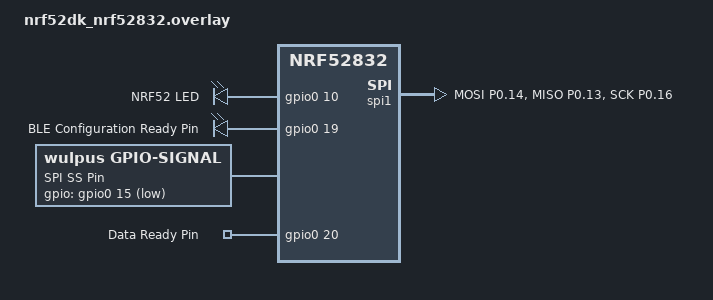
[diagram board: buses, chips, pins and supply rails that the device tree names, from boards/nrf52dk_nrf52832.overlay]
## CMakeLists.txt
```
#
# Copyright (c) 2018 Nordic Semiconductor
#
# SPDX-License-Identifier: LicenseRef-Nordic-5-Clause
#
cmake_minimum_required(VERSION 3.20.0)

find_package(Zephyr REQUIRED HINTS $ENV{ZEPHYR_BASE})
project(us_probe)

# NORDIC SDK APP START
target_sources(app PRIVATE
    src/main.c
    src/ble.c
    src/spi.c
    src/helper.c
    src/testfunctions.c
    src/uplink.c
    src/wulpus_node.c
    src/tx_stats.c
    src/i2c.c
)

if(CONFIG_BT_MESH)
    target_sources(app PRIVATE
        src/mesh.c
        src/timehelper.c
    )
endif()
target_include_directories(app PRIVATE include)
# NORDIC SDK APP END
```

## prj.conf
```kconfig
# Debugging
# CONFIG_DEBUG=y
# CONFIG_DEBUG_THREAD_INFO=y
# CONFIG_CORTEX_M_DEBUG_MONITOR_HOOK=y
# CONFIG_SEGGER_DEBUGMON=y
# DEBUG_COREDUMP=y
# DEBUG_COREDUMP_BACKEND_LOGGING=y

# Show Utilization
# CONFIG_THREAD_ANALYZER=y
# CONFIG_THREAD_ANALYZER_USE_PRINTK=y
# CONFIG_THREAD_ANALYZER_AUTO=y
# CONFIG_THREAD_ANALYZER_AUTO_INTERVAL=5

# Enable BT Mesh
CONFIG_BT_MESH=y
# Enable BT
CONFIG_BT=y

# BT details
CONFIG_BT_DEVICE_NAME_DYNAMIC=y
CONFIG_BT_DEVICE_NAME_MAX=32
CONFIG_BT_NUS=y
CONFIG_BT_PERIPHERAL=y
CONFIG_BT_OBSERVER=y
CONFIG_BT_BROADCASTER=y
CONFIG_BT_GAP_AUTO_UPDATE_CONN_PARAMS=y
CONFIG_BT_CTLR_PRIVACY=n
# Enable storing settings in flash
CONFIG_BT_SETTINGS=y
CONFIG_FLASH=y
CONFIG_FLASH_PAGE_LAYOUT=y
CONFIG_FLASH_MAP=y
CONFIG_NVS=y
CONFIG_SETTINGS=y
CONFIG_SETTINGS_NVS=y
CONFIG_MPU_ALLOW_FLASH_WRITE=y
# Use NVS backend for settings, not PSA storage
CONFIG_MBEDTLS_PSA_CRYPTO_STORAGE_C=n
# Optimizing for high throughput
CONFIG_BT_USER_PHY_UPDATE=y
CONFIG_BT_PERIPHERAL_PREF_MIN_INT=6
CONFIG_BT_PERIPHERAL_PREF_MAX_INT=10
CONFIG_BT_PERIPHERAL_PREF_LATENCY=0
CONFIG_BT_PERIPHERAL_PREF_TIMEOUT=400
CONFIG_BT_ATT_PREPARE_COUNT=5
CONFIG_BT_CTLR_PHY_2M=y
# Enable longer BT messages
CONFIG_BT_L2CAP_TX_MTU=220
CONFIG_BT_BUF_ACL_TX_SIZE=224
CONFIG_BT_BUF_ACL_RX_SIZE=230
CONFIG_BT_CTLR_DATA_LENGTH_MAX=211
# (Enable Hardware Info for Bluetooth ID)
CONFIG_HWINFO=y
CONFIG_BT_PRIVACY=n
# Enable GPIO
CONFIG_GPIO=y

# Log to RTT
CONFIG_LOG=y
CONFIG_LOG_DEFAULT_LEVEL=2
CONFIG_USE_SEGGER_RTT=y
CONFIG_LOG_BACKEND_RTT=y
CONFIG_LOG_PRINTK=y
CONFIG_RTT_CONSOLE=y

CONFIG_MAIN_STACK_SIZE=4096
CONFIG_SEGGER_RTT_BUFFER_SIZE_UP=4096

# Enable Asserts
CONFIG_ASSERT=y

# BT Mesh details
CONFIG_BT_MESH_MODEL_EXTENSIONS=y
CONFIG_BT_MESH_RELAY=y
CONFIG_BT_MESH_FRIEND=y
CONFIG_BT_MESH_PB_GATT=y
CONFIG_BT_MESH_PB_ADV=y
CONFIG_BT_MESH_GATT_PROXY=y
CONFIG_BT_MESH_PROXY_USE_DEVICE_NAME=n
CONFIG_BT_MESH_TIME_SRV=y
CONFIG_BT_MESH_TIME_SRV_PERSISTENT=y
CONFIG_BT_MESH_TIME_CLI=y
CONFIG_BT_MESH_DEFAULT_TTL=7
CONFIG_BT_MESH_DK_PROV=y
# Allow self-provisioning
CONFIG_BT_MESH_CFG_CLI=y
CONFIG_BT_MESH_TX_SEG_MAX=32
CONFIG_BT_MESH_TX_SEG_MSG_COUNT=100
CONFIG_BT_MESH_RX_SEG_MAX=32
CONFIG_BT_MESH_RX_SEG_MSG_COUNT=100
CONFIG_BT_MESH_ADV_BUF_COUNT=256
CONFIG_BT_MESH_SEQ_STORE_RATE=5
# Decrese rettrasnmit attempts to reduce congestion
CONFIG_BT_MESH_NETWORK_TRANSMIT_COUNT=1
# Increase (system workqueue) stack for BLE Mesh
CONFIG_SYSTEM_WORKQUEUE_STACK_SIZE=4096
CONFIG_BT_MESH_ADV_STACK_SIZE=4096
CONFIG_BT_RX_STACK_SIZE=4096
# Allow parallel GATT and Mesh
CONFIG_BT_EXT_ADV=y
CONFIG_BT_MAX_CONN=3
CONFIG_BT_ID_MAX=2
# (5 sets are used by Bluetooth Mesh, 1 is needed for the GATT advertisement)
CONFIG_BT_EXT_ADV_MAX_ADV_SET=6

CONFIG_CONSOLE=y
CONFIG_UART_CONSOLE=n
CONFIG_SERIAL=n
CONFIG_UART_NRFX=n
```

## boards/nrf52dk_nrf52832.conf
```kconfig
# Board-specific configuration
# Enable the nrfx SPIM driver. Instances are selected from devicetree.
CONFIG_NRFX_SPIM=y

# Enable PPI (Programmable Peripheral Interconnect)
CONFIG_NRFX_PPI=y

CONFIG_BT_MESH=n
CONFIG_BT_EXT_ADV=n
CONFIG_BT_MAX_CONN=1
CONFIG_BT_ID_MAX=2
CONFIG_BT_EXT_ADV_MAX_ADV_SET=1
```

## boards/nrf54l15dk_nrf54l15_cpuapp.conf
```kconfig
# Board-specific configuration for nRF54L15
# Enable the nrfx SPIM driver. Instances are selected from devicetree.
CONFIG_NRFX_SPIM=y
```

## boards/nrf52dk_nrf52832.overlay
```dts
/ {
    aliases {
        led0 = &led_nrf52;
        data-ready = &data_ready_pin;
        ble-cnfg-ready = &ble_cnfg_ready_pin;
        spi-conn = &spi1;
        spi-ss = &spi_ss_pin;
    };

    chosen {
        nordic,nus-uart = &uart0;
    };

    leds {
        compatible = "gpio-leds";
        led_nrf52: led_nrf52 {
            gpios = <&gpio0 10 GPIO_ACTIVE_HIGH>;
            label = "NRF52 LED";
        };

        ble_cnfg_ready_pin: ble_cnfg_ready_pin {
            gpios = <&gpio0 19 GPIO_ACTIVE_HIGH>;
            label = "BLE Configuration Ready Pin";
        };
    };

    spi_ss_pin: spi_ss_pin {
        compatible = "wulpus,gpio-signal";
        gpios = <&gpio0 15 GPIO_ACTIVE_LOW>;
        label = "SPI SS Pin";
    };

    buttons {
        compatible = "gpio-keys";
        data_ready_pin: data_ready_pin {
            gpios = <&gpio0 20 (GPIO_ACTIVE_HIGH | GPIO_PULL_DOWN)>;
            label = "Data Ready Pin";
        };
    };
};

&pinctrl {
    spi_master_default: spi_master_default {
        group1 {
            psels = <NRF_PSEL(SPIM_MOSI, 0, 14)>,
                    <NRF_PSEL(SPIM_MISO, 0, 13)>,
                    <NRF_PSEL(SPIM_SCK, 0, 16)>;
        };
    };

    spi_master_sleep: spi_master_sleep {
        group1 {
            psels = <NRF_PSEL(SPIM_MOSI, 0, 14)>,
                    <NRF_PSEL(SPIM_MISO, 0, 13)>,
                    <NRF_PSEL(SPIM_SCK, 0, 16)>;
            low-power-enable;
        };
    };
};

&spi1 {
    status = "okay";
    compatible = "nordic,nrf-spim";
    pinctrl-0 = <&spi_master_default>;
    pinctrl-1 = <&spi_master_sleep>;
    pinctrl-names = "default", "sleep";
};
```

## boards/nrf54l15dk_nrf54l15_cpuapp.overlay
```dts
/ {
    aliases {
        data-ready = &data_ready_pin;
        ble-cnfg-ready = &ble_cnfg_ready_pin;
        spi-conn = &spi20;
        spi-ss = &spi_ss_pin;
        i2c = &npm2100;
        pmic = &npm2100;
    };

    /*chosen {
        // Override default console/shell to use UART30 instead of UART20
        // This allows SPI20 to be used without conflict
        zephyr,console = &uart30;
        zephyr,shell-uart = &uart30;
        zephyr,uart-mcumgr = &uart30;
        zephyr,bt-mon-uart = &uart30;
        zephyr,bt-c2h-uart = &uart30;
        nordic,nus-uart = &uart30;
    };*/

    ble_cnfg_ready_pin: ble_cnfg_ready_pin {
        compatible = "wulpus,gpio-signal";
        gpios = <&gpio0 1 GPIO_ACTIVE_HIGH>;
        label = "BLE Configuration Ready Pin";
    };

    buttons {
        compatible = "gpio-keys";
        data_ready_pin: data_ready_pin {
            gpios = <&gpio0 0 (GPIO_ACTIVE_HIGH | GPIO_PULL_DOWN)>;
            label = "Data Ready Pin";
        };
    };

    spi_ss_pin: spi_ss_pin {
        compatible = "wulpus,gpio-signal";
        gpios = <&gpio1 5 GPIO_ACTIVE_LOW>;
        label = "SPI SS Pin";
    };
};

&pinctrl {
    spi_master_default: spi_master_default {
        group1 {
            psels = <NRF_PSEL(SPIM_MOSI, 1, 6)>,
                    <NRF_PSEL(SPIM_MISO, 1, 7)>,
                    <NRF_PSEL(SPIM_SCK, 1, 8)>;
        };
    };

    spi_master_sleep: spi_master_sleep {
        group1 {
            psels = <NRF_PSEL(SPIM_MOSI, 1, 6)>,
                    <NRF_PSEL(SPIM_MISO, 1, 7)>,
                    <NRF_PSEL(SPIM_SCK, 1, 8)>;
            low-power-enable;
        };
    };
};

&uart20 {
    status = "disabled";
};

&spi20 {
    // The app drives SPIM20 directly with nrfx; keep Zephyr's SPI driver off
    // this node so it does not register the same interrupt.
    status = "disabled";
    compatible = "nordic,nrf-spim";
    pinctrl-0 = <&spi_master_default>;
    pinctrl-1 = <&spi_master_sleep>;
    pinctrl-names = "default", "sleep";
};

// UART30 for console/shell/RTT (has default pinctrl)
&uart30 {
    status = "disabled";
    current-speed = <115200>;
};
```

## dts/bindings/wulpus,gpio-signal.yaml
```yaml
# Devicetree binding for simple GPIO signals used by the Wulpus probe firmware

compatible: "wulpus,gpio-signal"

description: |
  Helper node used by the Wulpus probe firmware to locate a GPIO signal via
  devicetree aliases.

properties:
  gpios:
    type: phandle-array
    required: true
    description: GPIO specifier for the signal.

  label:
    type: string
    required: false
```

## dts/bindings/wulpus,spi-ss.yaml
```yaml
# Devicetree binding for selecting the SPI slave-select GPIO for the Wulpus probe

compatible: "wulpus,spi-ss"

description: |
  Helper node used by the Wulpus probe firmware to locate the SPI slave-select
  (chip select) GPIO via a devicetree alias (spi-ss).

properties:
  gpios:
    type: phandle-array
    required: true
    description: |
      GPIO specifier for the SPI slave-select pin.

  label:
    type: string
    required: false
```

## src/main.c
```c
#include <bluetooth/services/nus.h>
#include <errno.h>
#include <stdio.h>
#include <stdlib.h>
#include <zephyr/bluetooth/bluetooth.h>
#include <zephyr/drivers/gpio.h>
#include <zephyr/drivers/hwinfo.h>
#include <zephyr/kernel.h>
#include <zephyr/logging/log.h>
#include <zephyr/settings/settings.h>
#include <zephyr/sys/util.h>

#include <zephyr/drivers/i2c.h>

#include "ble.h"
#include "helper.h"
#include "main.h"
#include "spi.h"
#include "tx_stats.h"
#include "testfunctions.h"
#include "wulpus_node.h"
#include "i2c.h"

#if IS_ENABLED(CONFIG_BT_MESH)
#include "mesh.h"
#include <bluetooth/mesh/models.h>
#include <zephyr/bluetooth/mesh.h>
#endif

LOG_MODULE_REGISTER(main);

#define HAS_DBG_BUTTON_2 DT_NODE_EXISTS(DBG_BUTTON_2_NODE)
#define HAS_DBG_BUTTON_3 DT_NODE_EXISTS(DBG_BUTTON_3_NODE)

// --- GPIOs ---
const struct gpio_dt_spec ble_cnfg_ready =
    GPIO_DT_SPEC_GET(BLE_CNFG_READY_NODE, gpios);
const struct gpio_dt_spec led = GPIO_DT_SPEC_GET(LED_NODE, gpios);
const struct gpio_dt_spec data_ready = GPIO_DT_SPEC_GET(DATA_READY_NODE, gpios);
#if HAS_DBG_BUTTON_2
const struct gpio_dt_spec dbg_button_2 =
    GPIO_DT_SPEC_GET(DBG_BUTTON_2_NODE, gpios);
#endif
#if HAS_DBG_BUTTON_3
const struct gpio_dt_spec dbg_button_3 =
    GPIO_DT_SPEC_GET(DBG_BUTTON_3_NODE, gpios);
#endif

// callback for data-ready GPIO interrupt, triggering SPIM transfer
struct gpio_callback data_ready_cb;
#if HAS_DBG_BUTTON_2
struct gpio_callback dbg_button_2_cb;
#endif
#if HAS_DBG_BUTTON_3
struct gpio_callback dbg_button_3_cb;
#endif

int64_t last_gpio_interrupt_time = 0;
static void gpio_interrupt_handler(const struct device *dev,
                                   struct gpio_callback *cb, uint32_t pins)
{
    int64_t const dt_now = k_uptime_get();
    int64_t const delta = dt_now - last_gpio_interrupt_time;
    LOG_INF("GPIO interrupt - dt since last: %lldms", delta);
    LOG_DBG("GPIO interrupt data_ready: trigger SPI session thread");
    if (delta < MIN_INTERRUPT_INTERVAL_MS)
    {
        LOG_WRN("Ignoring spurious interrupt (dt=%lldms < %dms)", delta,
                MIN_INTERRUPT_INTERVAL_MS);
        return;
    }
    last_gpio_interrupt_time = dt_now;
    k_sem_give(&data_ready_trigger_sem);
}

static void button_2_work_handler(struct k_work *work)
{
    LOG_INF("Button 2 pressed");
    LOG_INF("Sending start-config");
    uint8_t mock_config[] = {
        0xFA, 0x03, 0x00, 0xFE, 0xFF, 0x10, 0x55, 0x22, // config_id: 0, tx_channels: [0], rx_channels: [1]
        0x00, 0x10, 0x55, 0x22, 0x00, 0x01, 0x00, 0x00, // num_acqs: 500, dcdc_turnon: 100, meas_period: 2000000
        0x20, 0x03, 0x1D, 0x01, 0x06, 0x00, 0x04, 0x00, // trans_freq: 2250000, pulse_freq: 2250000, ...
        0xA0, 0x0F, 0xC4, 0x09, 0x19, 0x00, 0x19, 0x00,
        0xD3, 0x09, 0xA9, 0x03, 0xA6, 0x0E, 0x00, 0x00,
        0x00, 0x00, 0x00, 0x00, 0x00, 0x00, 0x00, 0x00};

#if IS_ENABLED(CONFIG_BT_MESH)
    mesh_publish_config(mock_config, sizeof(mock_config));
#endif
    apply_config(mock_config, sizeof(mock_config));
}

K_WORK_DEFINE(button_2_work, button_2_work_handler);

static void button_3_work_handler(struct k_work *work)
{
    LOG_INF("Button 3 pressed");
    LOG_INF("Sending stop-config");
    uint8_t mock_config[] = {0x00, 0x00, 0x00, 0x00, 0x00, 0x00, 0x00, 0x00,
                             0x00, 0x00, 0x00, 0x00, 0x00, 0x00, 0x00, 0x00,
                             0x00, 0x00, 0x00, 0x00, 0x00, 0x00, 0x00, 0x00};

#if IS_ENABLED(CONFIG_BT_MESH)
    mesh_publish_config(mock_config, sizeof(mock_config));
#endif
    apply_config(mock_config, sizeof(mock_config));
}

K_WORK_DEFINE(button_3_work, button_3_work_handler);

static void dbg_button_2_handler(const struct device *dev,
                                 struct gpio_callback *cb, uint32_t pins)
{
    k_work_submit(&button_2_work);
}

static void dbg_button_3_handler(const struct device *dev,
                                 struct gpio_callback *cb, uint32_t pins)
{
    k_work_submit(&button_3_work);
}

// --- Mesh -------------------------------------
uint16_t addr;
uint8_t dev_uuid[16] = {0};

#if IS_ENABLED(CONFIG_BT_MESH)
static const uint16_t net_idx;
static const uint32_t iv_index;
static uint8_t flags;
#endif

// --- MAIN -------------------------------------
K_THREAD_DEFINE(ble_tx_thread_id, 2048, ble_tx_thread, NULL, NULL, NULL,
                BLE_TASK_PRIO, 0, 0);
#if IS_ENABLED(CONFIG_BT_MESH)
K_THREAD_DEFINE(mesh_tx_thread_id, 4096 * 2, mesh_tx_thread, NULL, NULL, NULL,
                MESH_TX_TASK_PRIO, 0, 0);
#endif
K_THREAD_DEFINE(spi_session_thread_id, 2048, spi_session_thread, NULL, NULL,
                NULL, SPI_TASK_PRIO, 0, 0);
// K_THREAD_DEFINE(rand_sender_thread_id, 2048, mock_sender_thread, NULL,
//                 NULL, NULL, 7, 0, 0);

int main(void)
{
    LOG_WRN("Start-delay 5s");
    k_sleep(K_MSEC(5000));

    LOG_INF("Starting WULPUS nRF Firmware (%s)", CONFIG_BOARD);
    int err;

    LOG_INF("Initializing GPIOs...");
    if (!gpio_is_ready_dt(&led) || !gpio_is_ready_dt(&data_ready) ||
        !gpio_is_ready_dt(&ble_cnfg_ready)
#if HAS_DBG_BUTTON_2
        || !gpio_is_ready_dt(&dbg_button_2)
#endif
#if HAS_DBG_BUTTON_3
        || !gpio_is_ready_dt(&dbg_button_3)
#endif
    )
    {
        LOG_ERR("GPIO devices not ready.");
        return 0;
    }
    err = gpio_pin_configure_dt(&led, GPIO_OUTPUT_LOW) |
          gpio_pin_configure_dt(&ble_cnfg_ready, GPIO_OUTPUT_LOW) |
          gpio_pin_configure_dt(&data_ready, GPIO_INPUT)
#if HAS_DBG_BUTTON_2
          | gpio_pin_configure_dt(&dbg_button_2, GPIO_INPUT)
#endif
#if HAS_DBG_BUTTON_3
          | gpio_pin_configure_dt(&dbg_button_3, GPIO_INPUT)
#endif
        ;
    if (err < 0)
    {
        LOG_ERR("Error configuring GPIO pins");
        return 0;
    }

    err = npm2100_init_sequence();
    if (err) {
        LOG_ERR("npm2100_init_sequence failed: %d", err);
    }

    // Register callback first, then enable interrupt to avoid missing edges
    // during setup
    LOG_INF("Setting up data-ready callback");
    gpio_init_callback(&data_ready_cb, gpio_interrupt_handler,
                       BIT(data_ready.pin));
    err = gpio_add_callback_dt(&data_ready, &data_ready_cb);
    if (err)
    {
        LOG_ERR("Error setting up callback: %d", err);
        return err;
    }

#if HAS_DBG_BUTTON_2
    gpio_init_callback(&dbg_button_2_cb, dbg_button_2_handler,
                       BIT(dbg_button_2.pin));
    gpio_add_callback_dt(&dbg_button_2, &dbg_button_2_cb);
    gpio_pin_interrupt_configure_dt(&dbg_button_2, GPIO_INT_EDGE_TO_ACTIVE);
#endif

#if HAS_DBG_BUTTON_3
    gpio_init_callback(&dbg_button_3_cb, dbg_button_3_handler,
                       BIT(dbg_button_3.pin));
    gpio_add_callback_dt(&dbg_button_3, &dbg_button_3_cb);
    gpio_pin_interrupt_configure_dt(&dbg_button_3, GPIO_INT_EDGE_TO_ACTIVE);
#endif

    LOG_INF("Initializing settings subsystem");
    err = settings_subsys_init();
    if (err)
    {
        LOG_ERR("Failed to initialize settings subsystem: %d\n", err);
        return err;
    }

    LOG_INF("Setting up Bluetooth LE");
    err = bt_nus_init(&nus_callbacks);
    if (err)
    {
        LOG_ERR("Failed to register Bluetooth NUS callback: %d\n", err);
        return err;
    }
    err = bt_enable(NULL);
    if (err)
    {
        LOG_ERR("Failed to enable Bluetooth: %d\n", err);
        return err;
    }

    if (IS_ENABLED(CONFIG_BT_SETTINGS))
    {
        LOG_INF("Restoring the Bluetooth state (e.g. pairing keys)");
        settings_load();
    }
    else
    {
        LOG_WRN("CONFIG_BT_SETTINGS not enabled - won't restore Bluetooth state");
    }

    LOG_INF("Reading device id to derive node id / UUID");

    if (IS_ENABLED(CONFIG_HWINFO))
    {
        size_t id_len = hwinfo_get_device_id(dev_uuid, 16);
        if (!IS_ENABLED(CONFIG_BT_MESH_DK_LEGACY_UUID_GEN))
        {
            /* If device ID is shorter than UUID size, fill rest of buffer with
             * inverted device ID.
             */
            for (size_t i = id_len; i < 16; i++)
            {
                dev_uuid[i] = dev_uuid[i % id_len] ^ 0xff;
            }
        }
        dev_uuid[6] = (dev_uuid[6] & BIT_MASK(4)) | BIT(6);
        dev_uuid[8] = (dev_uuid[8] & BIT_MASK(6)) | BIT(7);
    }
    else
    {
        LOG_ERR("HWINFO not enable - fallback to default UUID!");
        dev_uuid[0] = 0xdd;
        dev_uuid[1] = 0xdd;
    }
    LOG_INF(
        "Mesh Device UUID: "
        "%02X%02X%02X%02X-%02X%02X-%02X%02X-%02X%02X-%02X%02X%02X%02X%02X%02X",
        dev_uuid[0], dev_uuid[1], dev_uuid[2], dev_uuid[3], dev_uuid[4],
        dev_uuid[5], dev_uuid[6], dev_uuid[7], dev_uuid[8], dev_uuid[9],
        dev_uuid[10], dev_uuid[11], dev_uuid[12], dev_uuid[13], dev_uuid[14],
        dev_uuid[15]);

    char uuid_str[5] = {0};
    snprintf(uuid_str, sizeof(uuid_str), "%02X%02X", dev_uuid[14], dev_uuid[15]);
    addr = (uint16_t)strtol(uuid_str, NULL, 16) & 0x7fff;
    if (addr == 0)
    {
        addr = 1;
    }
    LOG_INF("Using address: 0x%04x (derived from bytes 14-15: %02X%02X)", addr,
            dev_uuid[14], dev_uuid[15]);

    wulpus_node_id_set_fallback(addr);

    LOG_INF("Initializing GATT device name...");
    ble_init_device_name(addr);

#if IS_ENABLED(CONFIG_BT_MESH)
    LOG_INF("Setting up BLE Mesh");
    err = bt_mesh_init(&prov, &comp);
    if (err)
    {
        LOG_ERR("Initializing mesh failed (err %d)\n", err);
        return err;
    }

    k_sleep(K_MSEC(100));
    if (!bt_mesh_is_provisioned())
    {
        LOG_INF("Mesh not provisioned yet - self-provisioning now");
        err = bt_mesh_provision(net_key, net_idx, flags, iv_index, addr, dev_key);
    }
    else
    {
        LOG_INF("Mesh already provisioned, using stored settings");
    }
    if (err == -EALREADY)
    {
        LOG_WRN("Using stored settings - configuration already exists");
        // Request gateway address since prov_complete won't be called
        mesh_request_gateway_addr();
    }
    else if (err)
    {
        LOG_ERR("Provisioning failed (err %d)", err);
        return err;
    }
    else
    {
        LOG_INF("Provisioning completed - configuration will be done in prov_complete callback");
    }

    /* This will be a no-op if settings_load() loaded provisioning info */
    bt_mesh_prov_enable(
        (bt_mesh_prov_bearer_t)(BT_MESH_PROV_ADV | BT_MESH_PROV_GATT));

    LOG_INF("Mesh initialized");
#else
    LOG_INF("Mesh disabled (CONFIG_BT_MESH=n) - running BLE-only");
#endif

    LOG_INF("Starting BLE advertisement");
    err = start_advertise();
    if (err)
    {
        return err;
    }

    us_spi_init();

    // Enable interrupt on rising edge (SPI thread already running)
    err = gpio_pin_interrupt_configure_dt(&data_ready, GPIO_INT_EDGE_TO_ACTIVE);
    if (err < 0)
    {
        LOG_ERR("Error configuring interrupt: %d", err);
        return 0;
    }

    // Initial check if pin is already active -> manually trigger the interrupt
    // (as edge has already passed)
    if (gpio_pin_get_dt(&data_ready) > 0)
    {
        LOG_INF(
            "MSP has data already ready. Triggering data_ready_cb manually once.");
        gpio_interrupt_handler(data_ready.port, &data_ready_cb,
                               BIT(data_ready.pin));
    }

    while (1)
    {
        k_sleep(K_MSEC(1000));
        tx_stats_log_if_due(k_uptime_get());
        gpio_pin_toggle_dt(&led);
    }

    return 0;
}
```

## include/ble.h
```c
#ifndef BLE_H
#define BLE_H

#include <zephyr/bluetooth/bluetooth.h>
#include <zephyr/bluetooth/conn.h>
#include <zephyr/drivers/gpio.h>
#include <zephyr/kernel.h>

// --- Types ---
struct __packed ble_msg_header
{
    uint32_t timestamp; // Sequence ID (Microseconds)
    uint16_t length;    // Chunk Index
    uint16_t addr;      // Sensor address (mesh node address)
};
typedef struct ble_msg_header ble_msg_header;
#define BLE_HEADER_SZE sizeof(ble_msg_header)
#define BLE_MAX_PAYLOAD_SIZE 800

// --- Definitions ---
#define BLE_SINGLE_PCKT_SIZE 200
#define BLE_PCKT_SEND_SIZE (201 * 4) // BYTES_PR_XFER_RX * CHUNKS_PER_FRAME
#define BLE_TX_QUEUE_SIZE 3

// --- Externs ---
extern struct k_msgq ble_tx_msgq;
extern struct bt_conn *current_conn;
extern const struct gpio_dt_spec ble_cnfg_ready;

// --- Functions ---
void ble_init_device_name(uint16_t addr);
int start_advertise(void);
void ble_tx_thread(void);

// Callbacks
extern struct bt_conn_cb conn_callbacks;
extern struct bt_nus_cb nus_callbacks;

#endif // BLE_H
```

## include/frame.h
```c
#ifndef WULPUS_FRAME_H
#define WULPUS_FRAME_H

#include "ble.h"

#include <stdint.h>
#include <zephyr/toolchain.h>

struct frame_header
{
    uint32_t timestamp; // Timestamp (ms)
    uint16_t size;      // Count of bytes
    uint16_t addr;      // Sender node id
} __packed;
typedef struct frame_header frame_header;

struct frame_chunk
{
    frame_header header;
    uint8_t data[BLE_PCKT_SEND_SIZE];
} __packed;
typedef struct frame_chunk frame_chunk;

struct config_frame
{
    uint8_t data[BLE_SINGLE_PCKT_SIZE];
} __packed;
typedef struct config_frame config_frame;

#endif // WULPUS_FRAME_H
```

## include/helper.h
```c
#ifndef HELPER_H
#define HELPER_H

#include <stdint.h>

#include <zephyr/sys/util.h>

#if IS_ENABLED(CONFIG_BT_MESH)
#include <bluetooth/mesh/models.h>
#endif

#if IS_ENABLED(CONFIG_BT_MESH)
bool own_message(const struct bt_mesh_model *model,
				 const struct bt_mesh_msg_ctx *ctx);
#endif
void apply_config(const uint8_t *data, uint16_t len);

#endif // HELPER_H
```

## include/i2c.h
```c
#ifndef APP_I2C_H_
#define APP_I2C_H_

#ifdef __cplusplus
extern "C" {
#endif

/**
 * @brief Perform the required nPM2100 configuration writes over I2C.
 *
 * Writes:
 *   0x6A <- 0x00
 *   0x68 <- 52 (decimal, i.e. 0x34)
 *   0x69 <- 0x01
 *
 * @return 0 on success, negative errno on failure.
 */
int npm2100_init_sequence(void);

#ifdef __cplusplus
}
#endif

#endif /* APP_I2C_H_ */
```

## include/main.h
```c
#ifndef MAIN_H
#define MAIN_H

#include <stdint.h>
#include <zephyr/device.h>
#include <zephyr/devicetree.h>
#include <zephyr/drivers/gpio.h>
#include <zephyr/kernel.h>

// --- GPIO Definitions -------------------------
#define LED_NODE DT_ALIAS(led0)
#define DATA_READY_NODE DT_ALIAS(data_ready)
#define BLE_CNFG_READY_NODE DT_ALIAS(ble_cnfg_ready)
#define DEBUG_LED_NODE DT_ALIAS(led1)
#define DBG_BUTTON_2_NODE DT_ALIAS(button2)
#define DBG_BUTTON_3_NODE DT_ALIAS(button3)

// --- Bluetooth Definitions --------------------
#define DEVICE_NAME_BASE "WULPUS_PROBE"
#define DEVICE_NAME_MAX_LEN 30
extern char device_name[DEVICE_NAME_MAX_LEN];
extern uint8_t device_name_len;

extern uint16_t addr;
extern uint8_t dev_uuid[16];

// --- Thread Priorities ------------------------
#define MESH_TX_TASK_PRIO 3
#define BLE_TASK_PRIO 2
#define SPI_TASK_PRIO 1

// --- Global GPIO Specs ------------------------
extern const struct gpio_dt_spec ble_cnfg_ready;
extern const struct gpio_dt_spec led;
extern const struct gpio_dt_spec data_ready;
extern int64_t last_gpio_interrupt_time;

#endif // MAIN_H
```

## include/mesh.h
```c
#ifndef MESH_H
#define MESH_H

#include "frame.h"
#include <stdint.h>
#include <bluetooth/mesh/models.h>
#include <zephyr/bluetooth/mesh.h>
#include <zephyr/kernel.h>

// --- Definitions ---
#define BT_MESH_VND_MODEL_ID_WULPUS                                            \
  0x0001 // One custom model with multiple opcodes (functionality)
#define BT_MESH_VND_ID BT_COMP_ID_LF
#define BT_MESH_VND_OP_WULPUS_FRAMECHUNK                                       \
  BT_MESH_MODEL_OP_3(0xC2, BT_MESH_VND_ID)
#define BT_MESH_VND_OP_WULPUS_START_CONFIG                                     \
  BT_MESH_MODEL_OP_3(0xC3, BT_MESH_VND_ID)
#define BT_MESH_VND_OP_WULPUS_GATEWAY_UPDATE                                   \
  BT_MESH_MODEL_OP_3(0xC4, BT_MESH_VND_ID)
#define BT_MESH_VND_OP_WULPUS_GATEWAY_REQ                                      \
  BT_MESH_MODEL_OP_3(0xC5, BT_MESH_VND_ID)

#define MESH_TX_QUEUE_SIZE 3
#define WULPUS_GROUP_ADDR 0xC000

// --- DEBUG ---
static const uint8_t net_key[16] = {
    0x01, 0x23, 0x45, 0x67, 0x89, 0xab, 0xcd, 0xef,
    0x01, 0x23, 0x45, 0x67, 0x89, 0xab, 0xcd, 0xef,
};
static const uint8_t dev_key[16] = {
    0x01, 0x23, 0x45, 0x67, 0x89, 0xab, 0xcd, 0xef,
    0x01, 0x23, 0x45, 0x67, 0x89, 0xab, 0xcd, 0xef,
};
static const uint8_t app_key[16] = {
    0x01, 0x23, 0x45, 0x67, 0x89, 0xab, 0xcd, 0xef,
    0x01, 0x23, 0x45, 0x67, 0x89, 0xab, 0xcd, 0xef,
};

// --- Types ---
struct frame_chunk_header {
  uint32_t timestamp; // Sequence ID (Microseconds)
  uint8_t offset;     // Chunk Index (1/2 x index of 16-byte blocks) -> bytes = offset * 4
  uint8_t size;       // Count of uint16 elements  -> bytes = size * 2
} __packed;
typedef struct frame_chunk_header frame_chunk_header;

// --- Externs ---
extern struct k_msgq mesh_tx_msgq;
extern struct bt_mesh_model *vnd_model;
extern struct k_mutex mesh_pub_mutex;
extern bool i_am_gateway;

// --- Functions ---
extern const struct bt_mesh_prov prov;
void mesh_tx_thread(void);
int mesh_publish_self_gateway();
int mesh_send_gateway_addr(uint16_t addr);
int mesh_publish_config(const uint8_t *config_data, size_t len);
int mesh_publish_config(const uint8_t *config_data, size_t len);
void mesh_request_gateway_addr(void);
void mesh_set_time_authority(void);
void mesh_unset_time_authority(void);
uint16_t mesh_primary_addr_get(void);
uint32_t mesh_get_network_timestamp(void);
extern const struct bt_mesh_comp comp;

#endif // MESH_H
```

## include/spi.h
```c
#ifndef SPI_H
#define SPI_H

#include <hal/nrf_gpio.h>
#include <zephyr/devicetree.h>
#include <zephyr/drivers/gpio.h>
#include <zephyr/kernel.h>

// --- Definitions ---
#define BYTES_PR_XFER_RX 210
#define BYTES_PR_XFER_TX 210
#define CHUNKS_PER_FRAME 4
#define MIN_INTERRUPT_INTERVAL_MS 15

#define SPI_NODE DT_ALIAS(spi_conn)
#define SPI_SS_NODE DT_ALIAS(spi_ss)
#define SPI_PINCTRL_NODE DT_CHILD(DT_PINCTRL_0(SPI_NODE, 0), group1)

#define SPI_SS_NODE_EXISTS DT_NODE_EXISTS(SPI_SS_NODE)
#if !SPI_SS_NODE_EXISTS
#error "Missing required devicetree alias 'spi-ss' (DT_ALIAS(spi_ss))"
#endif

// Extract port (bits 5-9) and pin (bits 0-4) from NRF_PSEL format
#define NRF_GET_PORT(psel) (((psel) >> 5) & 0x1F)
#define NRF_GET_PIN(psel) ((psel) & 0x1F)
#define PSEL_TO_PIN(psel) NRF_GPIO_PIN_MAP(NRF_GET_PORT(psel), NRF_GET_PIN(psel))

#define MOSI_PIN PSEL_TO_PIN(DT_PROP_BY_IDX(SPI_PINCTRL_NODE, psels, 0))
#define MISO_PIN PSEL_TO_PIN(DT_PROP_BY_IDX(SPI_PINCTRL_NODE, psels, 1))
#define SCK_PIN PSEL_TO_PIN(DT_PROP_BY_IDX(SPI_PINCTRL_NODE, psels, 2))

#if DT_NODE_EXISTS(DT_NODELABEL(spi1))
#define SPIM_INST_IDX 1
#elif DT_NODE_EXISTS(DT_NODELABEL(spi20))
#define SPIM_INST_IDX 20
#else
#error "No compatible SPI instance found (spi1 or spi20)"
#endif

#define SPI_1_PRIO 1

// --- Externs ---
extern uint8_t m_tx_buffer[BYTES_PR_XFER_TX * CHUNKS_PER_FRAME];
extern uint8_t m_rx_buffer[BYTES_PR_XFER_RX * CHUNKS_PER_FRAME];

extern struct k_sem data_ready_trigger_sem;
extern struct k_sem single_session;
extern struct k_mutex tx_buffer_mutex;

// --- Functions ---
void us_spi_init(void);
void spi_session_thread(void);

#endif // SPI_H
```

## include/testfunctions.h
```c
#include <stdbool.h>
#include <stdint.h>
#include <zephyr/kernel.h>
#include <zephyr/sys/atomic.h>

void rand_sender_fixed_frequency_thread(void);
void send_random_data(uint8_t tx_rx_id, uint16_t meas_frame_nr,
                      struct k_msgq *ble_tx_msgq);

void mock_sender_thread(void);
void set_mesh_job_state(bool active);

extern uint32_t mesh_rand_sender_period_ms;
```

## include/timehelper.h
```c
/*
 * Copyright (c) 2020-2023 Nordic Semiconductor ASA
 *
 * SPDX-License-Identifier: LicenseRef-Nordic-5-Clause
 */

#ifndef BT_MESH_TIME_UTIL
#define BT_MESH_TIME_UTIL

#include <zephyr/types.h>
#include <zephyr/sys_clock.h>
#include <bluetooth/mesh/time.h>
#include <time.h>
#include <bluetooth/mesh/time_srv.h>

#ifdef __cplusplus
extern "C"
{
#endif

#define TAI_START_YEAR 2000
#define TM_START_YEAR 1900
#define TAI_START_DAY 6

#define DAYS_YEAR 365ULL
#define DAYS_LEAP_YEAR 366ULL

#define SEC_PER_YEAR (DAYS_YEAR * SEC_PER_DAY)
#define SEC_PER_LEAP_YEAR (DAYS_LEAP_YEAR * SEC_PER_DAY)
#define FEB_DAYS 28
#define FEB_LEAP_DAYS 29
#define WEEKDAY_CNT 7

#define SUBSEC_STEPS 256U
#define STATUS_INTERVAL_MIN 30000ll

    void tai_to_tm(const struct bt_mesh_time_tai *tai, struct tm *timeptr);
    int tm_to_tai(struct bt_mesh_time_tai *tai, const struct tm *timeptr);
    void network_time_into_tai(struct bt_mesh_time_srv *srv, int64_t uptime, struct bt_mesh_time_tai *tai);

    static inline bool is_leap_year(uint32_t year)
    {
        return ((year % 4) == 0) &&
               (((year % 100) != 0) || ((year % 400) == 0));
    }

    static inline bool tai_is_unknown(const struct bt_mesh_time_tai *tai)
    {
        return !tai->sec && !tai->subsec;
    }
#ifdef __cplusplus
}
#endif

#endif /* BT_MESH_TIME_UTIL */
```

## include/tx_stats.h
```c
#ifndef TX_STATS_H
#define TX_STATS_H

#include <stdint.h>
#include <zephyr/kernel.h>

#ifdef __cplusplus
extern "C"
{
#endif

    struct tx_stats_snapshot
    {
        uint32_t attempted;
        uint32_t completed;
        uint32_t failed;
        uint32_t dropped_queue_full;
    };

    typedef struct tx_stats_snapshot tx_stats_snapshot;

    void tx_stats_ble_frame_attempted(void);
    void tx_stats_ble_frame_completed(void);
    void tx_stats_ble_frame_failed(void);
    void tx_stats_ble_frame_dropped_queue_full(void);

    tx_stats_snapshot tx_stats_ble_snapshot(void);

    tx_stats_snapshot tx_stats_mesh_snapshot(void);

    void tx_stats_mesh_frame_attempted(void);
    void tx_stats_mesh_frame_completed(void);
    void tx_stats_mesh_frame_failed(void);
    void tx_stats_mesh_frame_dropped_queue_full(void);

    void tx_stats_log_if_due(int64_t now_ms);
    void tx_stats_log_force(void);

#ifdef __cplusplus
}
#endif

#endif // TX_STATS_H
```

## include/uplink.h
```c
#ifndef UPLINK_H
#define UPLINK_H

#include "frame.h"

#include <zephyr/kernel.h>

enum uplink_target
{
    UPLINK_TARGET_BLE = 0,
    UPLINK_TARGET_MESH = 1,
};

typedef enum uplink_target uplink_target;

int uplink_enqueue_frame(const frame_chunk *chunk, k_timeout_t timeout,
                         uplink_target *target);
uint8_t uplink_queue_depth_used(uplink_target target);

#endif // UPLINK_H
```

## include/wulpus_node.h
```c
#ifndef WULPUS_NODE_H
#define WULPUS_NODE_H

#include <stdint.h>

void wulpus_node_id_set_fallback(uint16_t node_id);
uint16_t wulpus_node_id_get(void);

uint32_t wulpus_timestamp_ms_get(void);

#endif // WULPUS_NODE_H
```
